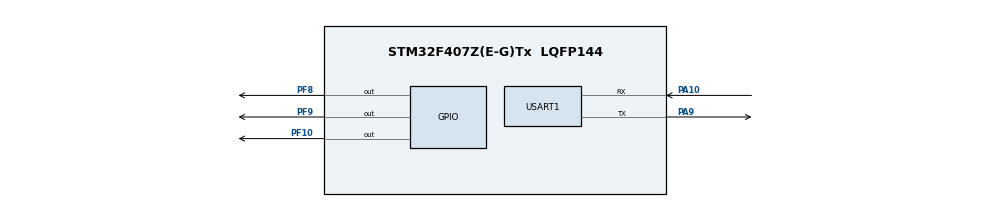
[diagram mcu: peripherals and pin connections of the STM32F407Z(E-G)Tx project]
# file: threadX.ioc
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Mcu.Family=STM32F4
Mcu.Name=STM32F407Z(E-G)Tx
Mcu.Package=LQFP144
NVIC.PriorityGroup=NVIC_PRIORITYGROUP_4
PA10.Mode=Asynchronous
PA10.Signal=USART1_RX
PA9.Mode=Asynchronous
PA9.Signal=USART1_TX
PF10.Signal=GPIO_Output
PF8.Signal=GPIO_Output
PF9.Signal=GPIO_Output
PH0-OSC_IN.Mode=HSE-External-Oscillator
PH0-OSC_IN.Signal=RCC_OSC_IN
PH1-OSC_OUT.Mode=HSE-External-Oscillator
PH1-OSC_OUT.Signal=RCC_OSC_OUT
ProjectManager.HeapSize=0x200
ProjectManager.StackSize=0x400
ProjectManager.TargetToolchain=Makefile
RCC.48MHZClocksFreq_Value=84000000
RCC.AHBFreq_Value=168000000
RCC.APB1CLKDivider=RCC_HCLK_DIV4
RCC.APB1Freq_Value=42000000
RCC.APB1TimFreq_Value=84000000
RCC.APB2CLKDivider=RCC_HCLK_DIV2
RCC.APB2Freq_Value=84000000
RCC.APB2TimFreq_Value=168000000
RCC.CortexFreq_Value=168000000
RCC.HCLKFreq_Value=168000000
RCC.HSE_VALUE=8000000
RCC.HSI_VALUE=16000000
RCC.LSE_VALUE=32768
RCC.PLLM=8
RCC.PLLN=336
RCC.PLLSourceVirtual=RCC_PLLSOURCE_HSE
RCC.SYSCLKFreq_VALUE=168000000
RCC.SYSCLKSource=RCC_SYSCLKSOURCE_PLLCLK
RCC.VCOOutputFreq_Value=336000000
USART1.VirtualMode=VM_ASYNC
board=custom

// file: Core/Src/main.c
/* USER CODE BEGIN Header */
/**
  ******************************************************************************
  * @file           : main.c
  * @brief          : Main program body
  ******************************************************************************
  * @attention
  *
  * Copyright (c) 2024 STMicroelectronics.
  * All rights reserved.
  *
  * This software is licensed under terms that can be found in the LICENSE file
  * in the root directory of this software component.
  * If no LICENSE file comes with this software, it is provided AS-IS.
  *
  ******************************************************************************
  */
/* USER CODE END Header */
#include "main.h"

/* USER CODE BEGIN Includes */
#include <stdio.h>
#include "tx_api.h"
/* USER CODE END Includes */

/* USER CODE BEGIN PM */
#define DEMO_STACK_SIZE         1024
#define DEMO_BYTE_POOL_SIZE     9120
#define DEMO_BLOCK_POOL_SIZE    100
#define DEMO_QUEUE_SIZE         100
/* USER CODE END PM */

void SystemClock_Config(void);
static void MX_GPIO_Init(void);
static void MX_USART1_UART_Init(void);
/* USER CODE BEGIN PFP */
TX_THREAD               thread_0;
TX_THREAD               thread_1;

TX_BYTE_POOL            byte_pool_0;
TX_BLOCK_POOL           block_pool_0;
UCHAR                   memory_area[DEMO_BYTE_POOL_SIZE];
/* USER CODE END PFP */

/* USER CODE BEGIN 0 */
void    thread_0_entry(ULONG thread_input)
{
  while(1)
    {
      printf("thread 0 is running ... \r\n");
      tx_thread_sleep(100);
    }
}

void    thread_1_entry(ULONG thread_input)
{
  while(1)
    {
      tx_thread_sleep(100);
      printf("thread 1 is running ... \r\n");

    }
}

/* USER CODE END 0 */

int main(void)
{

  /* MCU Configuration--------------------------------------------------------*/

  /* Reset of all peripherals, Initializes the Flash interface and the Systick. */
  LL_APB2_GRP1_EnableClock(LL_APB2_GRP1_PERIPH_SYSCFG);
  LL_APB1_GRP1_EnableClock(LL_APB1_GRP1_PERIPH_PWR);

  /* System interrupt init*/
  NVIC_SetPriorityGrouping(NVIC_PRIORITYGROUP_4);

  /* SysTick_IRQn interrupt configuration */
  NVIC_SetPriority(SysTick_IRQn, NVIC_EncodePriority(NVIC_GetPriorityGrouping(),15, 0));

  /* Configure the system clock */
  SystemClock_Config();

  /* Initialize all configured peripherals */
  MX_GPIO_Init();
  MX_USART1_UART_Init();
  /* USER CODE BEGIN 2 */
  LL_SYSTICK_EnableIT();
  setvbuf(stdout, NULL, _IONBF, 0);
  printf("Good afternoon\n\r");
  printf("systemcoreclk = %ld\n\r", SystemCoreClock);
  /* USER CODE END 2 */
    /* Enter the ThreadX kernel.  */
    tx_kernel_enter();
  /* Infinite loop */
  /* USER CODE BEGIN WHILE */
  while (1)
  {
    GPIOF->BSRR |= (1<<8)|(1<<25)|(1<<26);
    LL_mDelay(500);
    GPIOF->BSRR |= (1<<24)|(1<<9)|(1<<26);
    LL_mDelay(500);
    GPIOF->BSRR |= (1<<24)|(1<<25)|(1<<10);
    LL_mDelay(500);
    /* USER CODE END WHILE */

  }
}

void    tx_application_define(void *first_unused_memory)
{

CHAR    *pointer = TX_NULL;

    /* Create a byte memory pool from which to allocate the thread stacks.  */
    tx_byte_pool_create(&byte_pool_0, "byte pool 0", memory_area, DEMO_BYTE_POOL_SIZE);

    /* Put system definition stuff in here, e.g. thread creates and other assorted
       create information.  */

    /* Allocate the stack for thread 0.  */
    tx_byte_allocate(&byte_pool_0, (VOID **) &pointer, DEMO_STACK_SIZE, TX_NO_WAIT);

    /* Create the main thread.  */
    tx_thread_create(&thread_0, "thread 0", thread_0_entry, 0,
            pointer, DEMO_STACK_SIZE,
            1, 1, TX_NO_TIME_SLICE, TX_AUTO_START);

    /* Allocate the stack for thread 1.  */
    tx_byte_allocate(&byte_pool_0, (VOID **) &pointer, DEMO_STACK_SIZE, TX_NO_WAIT);

    /* Create threads 1 and 2. These threads pass information through a ThreadX
       message queue.  It is also interesting to note that these threads have a time
       slice.  */
    tx_thread_create(&thread_1, "thread 1", thread_1_entry, 1,
            pointer, DEMO_STACK_SIZE,
            16, 16, 4, TX_AUTO_START);

}

void SystemClock_Config(void)
{
  LL_FLASH_SetLatency(LL_FLASH_LATENCY_5);
  while(LL_FLASH_GetLatency()!= LL_FLASH_LATENCY_5)
  {
  }
  LL_PWR_SetRegulVoltageScaling(LL_PWR_REGU_VOLTAGE_SCALE1);
  LL_RCC_HSE_Enable();

   /* Wait till HSE is ready */
  while(LL_RCC_HSE_IsReady() != 1)
  {

  }
  LL_RCC_PLL_ConfigDomain_SYS(LL_RCC_PLLSOURCE_HSE, LL_RCC_PLLM_DIV_8, 336, LL_RCC_PLLP_DIV_2);
  LL_RCC_PLL_Enable();

   /* Wait till PLL is ready */
  while(LL_RCC_PLL_IsReady() != 1)
  {

  }
  while (LL_PWR_IsActiveFlag_VOS() == 0)
  {
  }
  LL_RCC_SetAHBPrescaler(LL_RCC_SYSCLK_DIV_1);
  LL_RCC_SetAPB1Prescaler(LL_RCC_APB1_DIV_4);
  LL_RCC_SetAPB2Prescaler(LL_RCC_APB2_DIV_2);
  LL_RCC_SetSysClkSource(LL_RCC_SYS_CLKSOURCE_PLL);

   /* Wait till System clock is ready */
  while(LL_RCC_GetSysClkSource() != LL_RCC_SYS_CLKSOURCE_STATUS_PLL)
  {

  }
  LL_Init1msTick(168000000);
  LL_SetSystemCoreClock(168000000);
}

static void MX_USART1_UART_Init(void)
{

  LL_USART_InitTypeDef USART_InitStruct = {0};

  LL_GPIO_InitTypeDef GPIO_InitStruct = {0};

  /* Peripheral clock enable */
  LL_APB2_GRP1_EnableClock(LL_APB2_GRP1_PERIPH_USART1);

  LL_AHB1_GRP1_EnableClock(LL_AHB1_GRP1_PERIPH_GPIOA);
  /**USART1 GPIO Configuration
  PA9   ------> USART1_TX
  PA10   ------> USART1_RX
  */
  GPIO_InitStruct.Pin = LL_GPIO_PIN_9|LL_GPIO_PIN_10;
  GPIO_InitStruct.Mode = LL_GPIO_MODE_ALTERNATE;
  GPIO_InitStruct.Speed = LL_GPIO_SPEED_FREQ_VERY_HIGH;
  GPIO_InitStruct.OutputType = LL_GPIO_OUTPUT_PUSHPULL;
  GPIO_InitStruct.Pull = LL_GPIO_PULL_NO;
  GPIO_InitStruct.Alternate = LL_GPIO_AF_7;
  LL_GPIO_Init(GPIOA, &GPIO_InitStruct);

  USART_InitStruct.BaudRate = 115200;
  USART_InitStruct.DataWidth = LL_USART_DATAWIDTH_8B;
  USART_InitStruct.StopBits = LL_USART_STOPBITS_1;
  USART_InitStruct.Parity = LL_USART_PARITY_NONE;
  USART_InitStruct.TransferDirection = LL_USART_DIRECTION_TX_RX;
  USART_InitStruct.HardwareFlowControl = LL_USART_HWCONTROL_NONE;
  USART_InitStruct.OverSampling = LL_USART_OVERSAMPLING_16;
  LL_USART_Init(USART1, &USART_InitStruct);
  LL_USART_ConfigAsyncMode(USART1);
  LL_USART_Enable(USART1);

}

static void MX_GPIO_Init(void)
{
  LL_GPIO_InitTypeDef GPIO_InitStruct = {0};

  /* GPIO Ports Clock Enable */
  LL_AHB1_GRP1_EnableClock(LL_AHB1_GRP1_PERIPH_GPIOF);
  LL_AHB1_GRP1_EnableClock(LL_AHB1_GRP1_PERIPH_GPIOH);
  LL_AHB1_GRP1_EnableClock(LL_AHB1_GRP1_PERIPH_GPIOA);

  /**/
  LL_GPIO_ResetOutputPin(GPIOF, LL_GPIO_PIN_8|LL_GPIO_PIN_9|LL_GPIO_PIN_10);

  /**/
  GPIO_InitStruct.Pin = LL_GPIO_PIN_8|LL_GPIO_PIN_9|LL_GPIO_PIN_10;
  GPIO_InitStruct.Mode = LL_GPIO_MODE_OUTPUT;
  GPIO_InitStruct.Speed = LL_GPIO_SPEED_FREQ_LOW;
  GPIO_InitStruct.OutputType = LL_GPIO_OUTPUT_PUSHPULL;
  GPIO_InitStruct.Pull = LL_GPIO_PULL_NO;
  LL_GPIO_Init(GPIOF, &GPIO_InitStruct);

}

/* USER CODE BEGIN 4 */
int _write (int fd, char * ptr, int len)
{
  int i;

  for (i = 0; i < len; i++) {
    while(!LL_USART_IsActiveFlag_TXE(USART1));
    LL_USART_TransmitData8(USART1, *ptr++);
    // SER_PutChar (*ptr++);
  }
  while (!LL_USART_IsActiveFlag_TC(USART1));
  return (i);
}
/* USER CODE END 4 */

void Error_Handler(void)
{
  __disable_irq();
  while (1)
  {
  }
}
